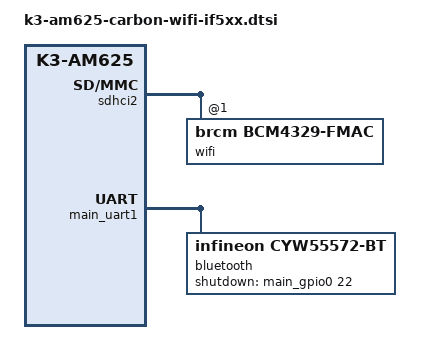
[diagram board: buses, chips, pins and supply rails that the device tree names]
// SPDX-License-Identifier: (GPL-2.0+ OR MIT)
/*
 * Copyright 2024 Ezurio
 */

#include "k3-am625-carbon-wifi.dtsi"

&sdhci2 { /* SDIO_B  WIFI */
	wifi@1 {
		reg = <1>;
		compatible = "brcm,bcm4329-fmac";
	};
};

&main_uart1 {
	pinctrl-0 = <&main_uart1_pins_default>, <&main_bt_en_pins_default>;

	bluetooth {
		compatible = "infineon,cyw55572-bt";
		brcm,requires-autobaud-mode;
		max-speed = <921600>;
		shutdown-gpios = <&main_gpio0 22 GPIO_ACTIVE_HIGH>; /* W_DISABLE2# */
	};
};
